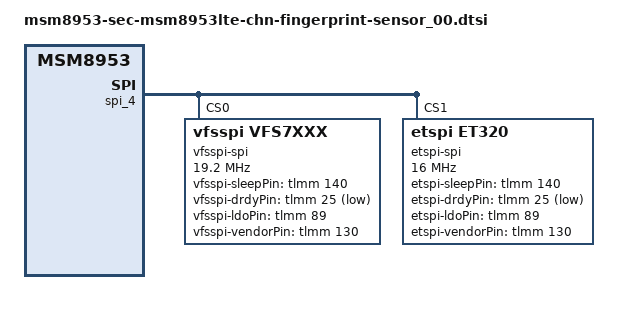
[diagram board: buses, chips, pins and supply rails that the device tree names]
/* Copyright (c) 2013-2014, The Linux Foundation. All rights reserved.
 *
 * This program is free software; you can redistribute it and/or modify
 * it under the terms of the GNU General Public License version 2 and
 * only version 2 as published by the Free Software Foundation.
 *
 * This program is distributed in the hope that it will be useful,
 * but WITHOUT ANY WARRANTY; without even the implied warranty of
 * MERCHANTABILITY or FITNESS FOR A PARTICULAR PURPOSE.  See the
 * GNU General Public License for more details.
 */

/{
	aliases {
		spi4 = &spi_4;
	};
};

&soc {
	tlmm: pinctrl@1000000 {
		vfsspi_drdypin {
			vfsspi_drdypin_active: vfsspi_drdypin_active {
				mux {
					pins = "gpio25";
					function = "gpio";
				};
				config {
					pins = "gpio25";
					drive-strength = <2>;
					bias-pull-down;
				};
			};
			vfsspi_drdypin_suspend: vfsspi_drdypin_suspend {
				mux {
					pins = "gpio25";
					function = "gpio";
				};
				config {
					pins = "gpio25";
					drive-strength = <2>;
					bias-pull-down;
				};
			};
		};

		vfsspi_ldopin {
			vfsspi_ldopin: vfsspi_ldopin {
				mux {
					pins = "gpio89";
					function = "gpio";
				};
				config {
					pins = "gpio89";
					drive-strength = <2>;
					bias-pull-down;
				};
			};
		};

		vfsspi_sleeppin {
			vfsspi_sleeppin: vfsspi_sleeppin {
				mux {
					pins = "gpio140";
					function = "gpio";
				};
				config {
					pins = "gpio140";
					drive-strength = <2>;
					bias-pull-down;
				};
			};
		};

		vfsspi_vendorPin {
			vfsspi_vendorPin: vfsspi_vendorPin {
				mux {
					pins = "gpio130";
					function = "gpio";
				};
				config {
					pins = "gpio130";
					drive-strength = <2>;
					bias-disable;
				};
			};
		};

		etspi_drdypin {
			etspi_drdypin_active: etspi_drdypin_active {
				mux {
					pins = "gpio25";
					function = "gpio";
				};
				config {
					pins = "gpio25";
					drive-strength = <2>;
					bias-pull-down;
				};
			};
			etspi_drdypin_suspend: etspi_drdypin_suspend {
				mux {
					pins = "gpio25";
					function = "gpio";
				};
				config {
					pins = "gpio25";
					drive-strength = <2>;
					bias-pull-down;
				};
			};
		};

		etspi_ldopin {
			etspi_ldopin: etspi_ldopin {
				mux {
					pins = "gpio89";
					function = "gpio";
				};
				config {
					pins = "gpio89";
					drive-strength = <2>;
					bias-pull-down;
				};
			};
		};

		etspi_sleeppin {
			etspi_sleeppin: etspi_sleeppin {
				mux {
					pins = "gpio140";
					function = "gpio";
				};
				config {
					pins = "gpio140";
					drive-strength = <2>;
					bias-pull-down;
				};
			};
		};

		etspi_vendorPin {
			etspi_vendorPin: etspi_vendorPin {
				mux {
					pins = "gpio130";
					function = "gpio";
				};
				config {
					pins = "gpio130";
					drive-strength = <2>;
					bias-disable;
				};
			};
		};
	};

	spi_4: spi@78b8000 { /* BLSP1 QUP4 */
		status = "ok";
		compatible = "qcom,spi-qup-v2";
		#address-cells = <1>;
		#size-cells = <0>;
		reg-names = "spi_physical", "spi_bam_physical";
		reg = <0x78b8000 0x1000>, <0x7884000 0x2b000>;
		interrupt-names = "spi_irq", "spi_bam_irq";
		interrupts = <0 98 0>, <0 238 0>;

		spi-max-frequency = <19200000>;
		qcom,master-id = <86>;

		qcom,ver-reg-exists;
		qcom,use-pinctrl;
		qcom,use-bam;
		qcom,bam-consumer-pipe-index = <10>;
		qcom,bam-producer-pipe-index = <11>;
		pinctrl-names = "spi_default", "spi_sleep";
		pinctrl-0 = <&spi_4_active>;
		pinctrl-1 = <&spi_4_sleep>;

		clock-names = "iface_clk", "core_clk";

		clocks = <&clock_gcc clk_gcc_blsp1_ahb_clk>,
			 <&clock_gcc clk_gcc_blsp1_qup4_spi_apps_clk>;

		vfsspi-spi@0 {
			compatible = "vfsspi,vfs7xxx";
			reg = <0>;
			spi-max-frequency = <19200000>;
			vfsspi-sleepPin = <&tlmm 140 0x00>;
			vfsspi-drdyPin = <&tlmm 25 0x01>;
			vfsspi-ldoPin = <&tlmm 89 0x00>;
			vfsspi-vendorPin = <&tlmm 130 0x00>;
			vfsspi-orient = <0>;
			vfsspi-ldocontrol= <1>;
			vfsspi-min_cpufreq_limit = <2016000>;

			pinctrl-names = "vfsspi_default", "vfsspi_sleep", "vfsspi_idle";
			pinctrl-0 = <&vfsspi_drdypin_active &vfsspi_ldopin &vfsspi_sleeppin &vfsspi_vendorPin>;
			pinctrl-1 = <&vfsspi_drdypin_suspend>;
			pinctrl-2 = <&vfsspi_drdypin_active>;
		};
		etspi-spi@1 {
			compatible = "etspi,et320";
			reg = <1>;
			spi-max-frequency = <16000000>;
			etspi-sleepPin = <&tlmm 140 0x00>;
			etspi-drdyPin = <&tlmm 25 0x01>;
			etspi-ldoPin = <&tlmm 89 0x00>;
			etspi-vendorPin = <&tlmm 130 0x00>;
			etspi-orient = <0>;
			etspi-ldocontrol= <1>;
			etspi-min_cpufreq_limit = <2016000>;

			pinctrl-names = "etspi_default", "etspi_sleep", "etspi_idle";
			pinctrl-0 = <&etspi_drdypin_active &etspi_ldopin &etspi_sleeppin &etspi_vendorPin>;
			pinctrl-1 = <&etspi_drdypin_suspend>;
			pinctrl-2 = <&etspi_drdypin_active>;
		};
	};
};
